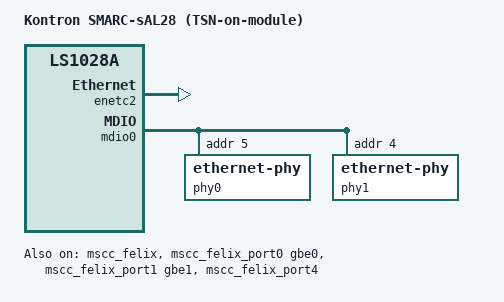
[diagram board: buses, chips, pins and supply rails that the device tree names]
// SPDX-License-Identifier: GPL-2.0+
/*
 * Device Tree file for the Kontron SMARC-sAL28 board.
 *
 * This is for the network variant 2 which has no ethernet support in the
 * bootloader.
 *
 * Copyright (C) 2020 Michael Walle <michael@walle.cc>
 *
 */

/dts-v1/;
#include "fsl-ls1028a-kontron-sl28.dts"

/ {
	model = "Kontron SMARC-sAL28 (TSN-on-module)";
	compatible = "kontron,sl28-var2", "kontron,sl28", "fsl,ls1028a";
};

&enetc0 {
	status = "disabled";
	/delete-property/ phy-handle;
};

&enetc2 {
	status = "okay";
};

&mscc_felix {
	status = "okay";
};

&mscc_felix_port0 {
	label = "gbe0";
	phy-handle = <&phy0>;
	phy-mode = "sgmii";
	status = "okay";
};

&mscc_felix_port1 {
	label = "gbe1";
	phy-handle = <&phy1>;
	phy-mode = "sgmii";
	status = "okay";
};

&mscc_felix_port4 {
	ethernet = <&enetc2>;
	status = "okay";
};

/delete-node/ &phy0;
&mdio0 {
	phy0: ethernet-phy@5 {
		reg = <0x5>;
		eee-broken-1000t;
		eee-broken-100tx;
	};

	phy1: ethernet-phy@4 {
		reg = <0x4>;
		eee-broken-1000t;
		eee-broken-100tx;
	};
};
